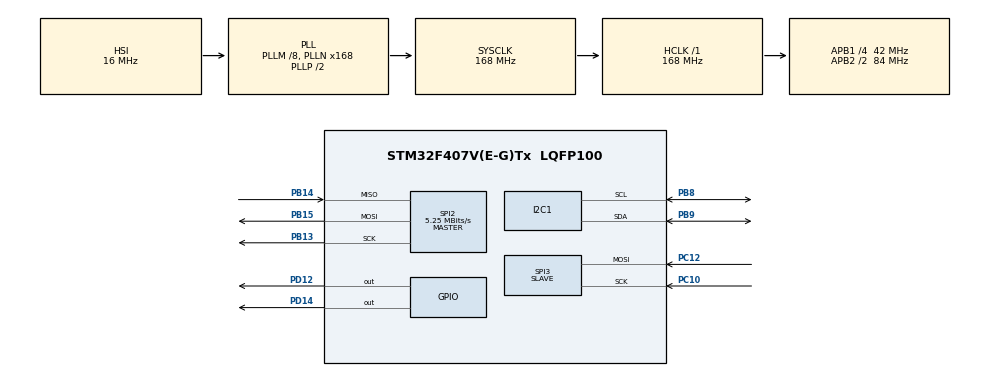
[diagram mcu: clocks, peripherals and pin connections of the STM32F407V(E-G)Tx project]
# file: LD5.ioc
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Mcu.Family=STM32F4
Mcu.Name=STM32F407V(E-G)Tx
Mcu.Package=LQFP100
NVIC.PriorityGroup=NVIC_PRIORITYGROUP_4
NVIC.TIM2_IRQn=true\:0\:0\:false\:false\:true\:true\:true\:true
PB13.Mode=Full_Duplex_Master
PB13.Signal=SPI2_SCK
PB14.Mode=Full_Duplex_Master
PB14.Signal=SPI2_MISO
PB15.Mode=Full_Duplex_Master
PB15.Signal=SPI2_MOSI
PB8.Mode=I2C
PB8.Signal=I2C1_SCL
PB9.Mode=I2C
PB9.Signal=I2C1_SDA
PC10.Mode=RX_Only_Simplex_Unidirect_Slave
PC10.Signal=SPI3_SCK
PC12.Mode=RX_Only_Simplex_Unidirect_Slave
PC12.Signal=SPI3_MOSI
PD12.Signal=GPIO_Output
PD14.Signal=GPIO_Output
PH0-OSC_IN.Mode=HSE-External-Oscillator
PH0-OSC_IN.Signal=RCC_OSC_IN
PH1-OSC_OUT.Mode=HSE-External-Oscillator
PH1-OSC_OUT.Signal=RCC_OSC_OUT
ProjectManager.HeapSize=0x200
ProjectManager.StackSize=0x400
ProjectManager.TargetToolchain=STM32CubeIDE
RCC.48MHZClocksFreq_Value=84000000
RCC.AHBFreq_Value=168000000
RCC.APB1CLKDivider=RCC_HCLK_DIV4
RCC.APB1Freq_Value=42000000
RCC.APB1TimFreq_Value=84000000
RCC.APB2CLKDivider=RCC_HCLK_DIV2
RCC.APB2Freq_Value=84000000
RCC.APB2TimFreq_Value=168000000
RCC.CortexFreq_Value=168000000
RCC.HCLKFreq_Value=168000000
RCC.HSE_VALUE=25000000
RCC.HSI_VALUE=16000000
RCC.LSE_VALUE=32768
RCC.PLLM=8
RCC.PLLN=168
RCC.SYSCLKFreq_VALUE=168000000
RCC.SYSCLKSource=RCC_SYSCLKSOURCE_PLLCLK
RCC.VCOOutputFreq_Value=336000000
SPI2.BaudRatePrescaler=SPI_BAUDRATEPRESCALER_8
SPI2.CalculateBaudRate=5.25 MBits/s
SPI2.Direction=SPI_DIRECTION_2LINES
SPI2.Mode=SPI_MODE_MASTER
SPI2.VirtualType=VM_MASTER
SPI3.Direction=SPI_DIRECTION_2LINES_RXONLY
SPI3.Mode=SPI_MODE_SLAVE
SPI3.VirtualType=VM_SLAVE
TIM2.Prescaler=8399
VP_TIM2_VS_ClockSourceINT.Mode=Internal
board=custom

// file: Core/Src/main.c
/* USER CODE BEGIN Header */
/**
  ******************************************************************************
  * @file           : main.h
  * @brief          : Header for main.c file.
  *                   This file contains the common defines of the application.
  ******************************************************************************
  * @attention
  *
  * Copyright (c) 2026 STMicroelectronics.
  * All rights reserved.
  *
  * This software is licensed under terms that can be found in the LICENSE file
  * in the root directory of this software component.
  * If no LICENSE file comes with this software, it is provided AS-IS.
  *
  ******************************************************************************
  */
/* USER CODE END Header */

#ifndef __MAIN_H
#define __MAIN_H

#ifdef __cplusplus
extern "C" {
#endif

#include "stm32f4xx_hal.h"

/* USER CODE BEGIN Includes */
#include "ssd1306.h"
#include "ssd1306_fonts.h"
#include <stdio.h>
/* USER CODE END Includes */

void Error_Handler(void);

#ifdef __cplusplus
}
#endif

#endif /* __MAIN_H */

/* USER CODE END Includes */

I2C_HandleTypeDef hi2c1;

SPI_HandleTypeDef hspi2;
SPI_HandleTypeDef hspi3;

TIM_HandleTypeDef htim2;

/* USER CODE BEGIN PV */
// 1 DALIAI: Kintamieji SPI2 perdavimui ir priėmimui (vietoje SPI4)
uint8_t spi2_tx_data[4] = {8, 12, 13, 15};
uint8_t spi2_rx_data[4] = {0, 0, 0, 0};

// 2 DALIAI: Kintamieji SPI2 -> SPI3 perdavimui
uint8_t seq_data[4] = {1, 3, 7, 12};
uint8_t seq_index = 0;
uint8_t spi3_rx_byte = 0;

// Vėliavėlė (flag) pranešti pagrindiniam ciklui, kad gautas naujas baitas
volatile uint8_t new_data_received = 0;
/* USER CODE END PV */

void SystemClock_Config(void);
static void MX_GPIO_Init(void);
static void MX_I2C1_Init(void);
static void MX_SPI2_Init(void);
static void MX_SPI3_Init(void);
static void MX_TIM2_Init(void);

/* USER CODE BEGIN 0 */
// Laikmačio pertrauktis (kas 1 sek.)
void HAL_TIM_PeriodElapsedCallback(TIM_HandleTypeDef *htim) {
    if (htim->Instance == TIM2) {
        // Mirksime PD12 (vietoje PG13 - TX aktyvumas)
        HAL_GPIO_TogglePin(GPIOD, GPIO_PIN_12);

        // Išsiunčiame 1 baitą per SPI2 (vietoj SPI4)
        HAL_SPI_Transmit(&hspi2, &seq_data[seq_index], 1, 10);

        // Pereiname prie kito skaičiaus masyve
        seq_index++;
        if (seq_index >= 4) seq_index = 0;
    }
}

// SPI priėmimo pertrauktis
void HAL_SPI_RxCpltCallback(SPI_HandleTypeDef *hspi) {
    if (hspi->Instance == SPI3) {
        // Mirksime PD14 (vietoje PG14 - RX aktyvumas)
        HAL_GPIO_TogglePin(GPIOD, GPIO_PIN_14);

        // Pakeliame vėliavėlę ekranui
        new_data_received = 1;

        // Vėl aktyvuojame SPI3 klausymąsi (Non-blocking mode)
        HAL_SPI_Receive_IT(&hspi3, &spi3_rx_byte, 1);
    }
}
/* USER CODE END 0 */

int main(void)
{

  /* USER CODE BEGIN 1 */
	char oled_buf[32];
  /* USER CODE END 1 */

  /* MCU Configuration--------------------------------------------------------*/

  /* Reset of all peripherals, Initializes the Flash interface and the Systick. */
  HAL_Init();

  /* Configure the system clock */
  SystemClock_Config();

  /* Initialize all configured peripherals */
  MX_GPIO_Init();
  MX_I2C1_Init();
  MX_SPI2_Init();
  MX_SPI3_Init();
  MX_TIM2_Init();
  /* USER CODE BEGIN 2 */
    HAL_NVIC_SetPriority(SPI3_IRQn, 0, 0);
    HAL_NVIC_EnableIRQ(SPI3_IRQn);
    // 1. Inicijuojame OLED ekraną
    ssd1306_Init();
    ssd1306_Fill(Black);
    ssd1306_SetCursor(2, 2);
    ssd1306_WriteString("1 Dalis: SPI2", Font_7x10, White);
    ssd1306_UpdateScreen();

    // 2. IŠBANDOME 4 BAITŲ PERSIUNTIMĄ (SPI2_MOSI ir SPI2_MISO turi būti sujungti laidu!)
    // PB15 (MOSI) sujungti su PB14 (MISO)
    HAL_SPI_TransmitReceive(&hspi2, spi2_tx_data, spi2_rx_data, 4, HAL_MAX_DELAY);

    // Atvaizduojame testavimo rezultatus OLED ekrane
    sprintf(oled_buf, "TX: %d %d %d %d", spi2_tx_data[0], spi2_tx_data[1], spi2_tx_data[2], spi2_tx_data[3]);
    ssd1306_SetCursor(2, 20);
    ssd1306_WriteString(oled_buf, Font_7x10, White);

    sprintf(oled_buf, "RX: %d %d %d %d", spi2_rx_data[0], spi2_rx_data[1], spi2_rx_data[2], spi2_rx_data[3]);
    ssd1306_SetCursor(2, 35);
    ssd1306_WriteString(oled_buf, Font_7x10, White);
    ssd1306_UpdateScreen();

    // Leidžiame pažiūrėti į ekraną 4 sekundes
    HAL_Delay(4000);

    // Paruošiame ekraną 2-ajai daliai
    ssd1306_Fill(Black);
    ssd1306_SetCursor(2, 2);
    ssd1306_WriteString("2 Dalis: SPI2->SPI3", Font_7x10, White);
    ssd1306_UpdateScreen();

    // Prieš šį žingsnį turi būti sujungta: PB13 -> PB3 (SCK) ir PB15 -> PC12 (MOSI)
    // 3. PALEIDŽIAME 2 DALIES PERTRAUKTIS
    HAL_SPI_Receive_IT(&hspi3, &spi3_rx_byte, 1);
    HAL_TIM_Base_Start_IT(&htim2);
    /* USER CODE END 2 */

    /* Infinite loop */
      /* USER CODE BEGIN WHILE */
      while (1)
      {
          // Jei gavome duomenis per pertrauktį iš SPI3, atnaujiname ekraną
          if (new_data_received == 1) {
              new_data_received = 0; // Nuleidžiame vėliavėlę

              sprintf(oled_buf, "Gauta: %2d", spi3_rx_byte);
              ssd1306_SetCursor(2, 30);
              ssd1306_WriteString(oled_buf, Font_11x18, White);
              ssd1306_UpdateScreen();
          }
        /* USER CODE END WHILE */

  }
}

void SystemClock_Config(void)
{
  RCC_OscInitTypeDef RCC_OscInitStruct = {0};
  RCC_ClkInitTypeDef RCC_ClkInitStruct = {0};

  /** Configure the main internal regulator output voltage
  */
  __HAL_RCC_PWR_CLK_ENABLE();
  __HAL_PWR_VOLTAGESCALING_CONFIG(PWR_REGULATOR_VOLTAGE_SCALE1);

  /** Initializes the RCC Oscillators according to the specified parameters
  * in the RCC_OscInitTypeDef structure.
  */
  RCC_OscInitStruct.OscillatorType = RCC_OSCILLATORTYPE_HSI;
  RCC_OscInitStruct.HSIState = RCC_HSI_ON;
  RCC_OscInitStruct.HSICalibrationValue = RCC_HSICALIBRATION_DEFAULT;
  RCC_OscInitStruct.PLL.PLLState = RCC_PLL_ON;
  RCC_OscInitStruct.PLL.PLLSource = RCC_PLLSOURCE_HSI;
  RCC_OscInitStruct.PLL.PLLM = 8;
  RCC_OscInitStruct.PLL.PLLN = 168;
  RCC_OscInitStruct.PLL.PLLP = RCC_PLLP_DIV2;
  RCC_OscInitStruct.PLL.PLLQ = 4;
  if (HAL_RCC_OscConfig(&RCC_OscInitStruct) != HAL_OK)
  {
    Error_Handler();
  }

  /** Initializes the CPU, AHB and APB buses clocks
  */
  RCC_ClkInitStruct.ClockType = RCC_CLOCKTYPE_HCLK|RCC_CLOCKTYPE_SYSCLK
                              |RCC_CLOCKTYPE_PCLK1|RCC_CLOCKTYPE_PCLK2;
  RCC_ClkInitStruct.SYSCLKSource = RCC_SYSCLKSOURCE_PLLCLK;
  RCC_ClkInitStruct.AHBCLKDivider = RCC_SYSCLK_DIV1;
  RCC_ClkInitStruct.APB1CLKDivider = RCC_HCLK_DIV4;
  RCC_ClkInitStruct.APB2CLKDivider = RCC_HCLK_DIV2;

  if (HAL_RCC_ClockConfig(&RCC_ClkInitStruct, FLASH_LATENCY_5) != HAL_OK)
  {
    Error_Handler();
  }
}

static void MX_I2C1_Init(void)
{

  hi2c1.Instance = I2C1;
  hi2c1.Init.ClockSpeed = 100000;
  hi2c1.Init.DutyCycle = I2C_DUTYCYCLE_2;
  hi2c1.Init.OwnAddress1 = 0;
  hi2c1.Init.AddressingMode = I2C_ADDRESSINGMODE_7BIT;
  hi2c1.Init.DualAddressMode = I2C_DUALADDRESS_DISABLE;
  hi2c1.Init.OwnAddress2 = 0;
  hi2c1.Init.GeneralCallMode = I2C_GENERALCALL_DISABLE;
  hi2c1.Init.NoStretchMode = I2C_NOSTRETCH_DISABLE;
  if (HAL_I2C_Init(&hi2c1) != HAL_OK)
  {
    Error_Handler();
  }

}

static void MX_SPI2_Init(void)
{

  /* SPI2 parameter configuration*/
  hspi2.Instance = SPI2;
  hspi2.Init.Mode = SPI_MODE_MASTER;
  hspi2.Init.Direction = SPI_DIRECTION_2LINES;
  hspi2.Init.DataSize = SPI_DATASIZE_8BIT;
  hspi2.Init.CLKPolarity = SPI_POLARITY_LOW;
  hspi2.Init.CLKPhase = SPI_PHASE_1EDGE;
  hspi2.Init.NSS = SPI_NSS_SOFT;
  hspi2.Init.BaudRatePrescaler = SPI_BAUDRATEPRESCALER_8;
  hspi2.Init.FirstBit = SPI_FIRSTBIT_MSB;
  hspi2.Init.TIMode = SPI_TIMODE_DISABLE;
  hspi2.Init.CRCCalculation = SPI_CRCCALCULATION_DISABLE;
  hspi2.Init.CRCPolynomial = 10;
  if (HAL_SPI_Init(&hspi2) != HAL_OK)
  {
    Error_Handler();
  }

}

static void MX_SPI3_Init(void)
{

  /* SPI3 parameter configuration*/
  hspi3.Instance = SPI3;
  hspi3.Init.Mode = SPI_MODE_SLAVE;
  hspi3.Init.Direction = SPI_DIRECTION_2LINES_RXONLY;
  hspi3.Init.DataSize = SPI_DATASIZE_8BIT;
  hspi3.Init.CLKPolarity = SPI_POLARITY_LOW;
  hspi3.Init.CLKPhase = SPI_PHASE_1EDGE;
  hspi3.Init.NSS = SPI_NSS_SOFT;
  hspi3.Init.FirstBit = SPI_FIRSTBIT_MSB;
  hspi3.Init.TIMode = SPI_TIMODE_DISABLE;
  hspi3.Init.CRCCalculation = SPI_CRCCALCULATION_DISABLE;
  hspi3.Init.CRCPolynomial = 10;
  if (HAL_SPI_Init(&hspi3) != HAL_OK)
  {
    Error_Handler();
  }

}

static void MX_TIM2_Init(void)
{

  TIM_ClockConfigTypeDef sClockSourceConfig = {0};
  TIM_MasterConfigTypeDef sMasterConfig = {0};

  htim2.Instance = TIM2;
  htim2.Init.Prescaler = 8399;
  htim2.Init.CounterMode = TIM_COUNTERMODE_UP;
  htim2.Init.Period = 9999;
  htim2.Init.ClockDivision = TIM_CLOCKDIVISION_DIV1;
  htim2.Init.AutoReloadPreload = TIM_AUTORELOAD_PRELOAD_DISABLE;
  if (HAL_TIM_Base_Init(&htim2) != HAL_OK)
  {
    Error_Handler();
  }
  sClockSourceConfig.ClockSource = TIM_CLOCKSOURCE_INTERNAL;
  if (HAL_TIM_ConfigClockSource(&htim2, &sClockSourceConfig) != HAL_OK)
  {
    Error_Handler();
  }
  sMasterConfig.MasterOutputTrigger = TIM_TRGO_RESET;
  sMasterConfig.MasterSlaveMode = TIM_MASTERSLAVEMODE_DISABLE;
  if (HAL_TIMEx_MasterConfigSynchronization(&htim2, &sMasterConfig) != HAL_OK)
  {
    Error_Handler();
  }

}

static void MX_GPIO_Init(void)
{
  GPIO_InitTypeDef GPIO_InitStruct = {0};

  /* GPIO Ports Clock Enable */
  __HAL_RCC_GPIOH_CLK_ENABLE();
  __HAL_RCC_GPIOB_CLK_ENABLE();
  __HAL_RCC_GPIOD_CLK_ENABLE();
  __HAL_RCC_GPIOC_CLK_ENABLE();

  /*Configure GPIO pin Output Level */
  HAL_GPIO_WritePin(GPIOD, GPIO_PIN_12|GPIO_PIN_14, GPIO_PIN_RESET);

  /*Configure GPIO pins : PD12 PD14 */
  GPIO_InitStruct.Pin = GPIO_PIN_12|GPIO_PIN_14;
  GPIO_InitStruct.Mode = GPIO_MODE_OUTPUT_PP;
  GPIO_InitStruct.Pull = GPIO_NOPULL;
  GPIO_InitStruct.Speed = GPIO_SPEED_FREQ_LOW;
  HAL_GPIO_Init(GPIOD, &GPIO_InitStruct);

}

/* USER CODE BEGIN 4 */
void SPI3_IRQHandler(void)
{
    HAL_SPI_IRQHandler(&hspi3);
}
/* USER CODE END 4 */

void Error_Handler(void)
{
  __disable_irq();
  while (1)
  {
  }
}
